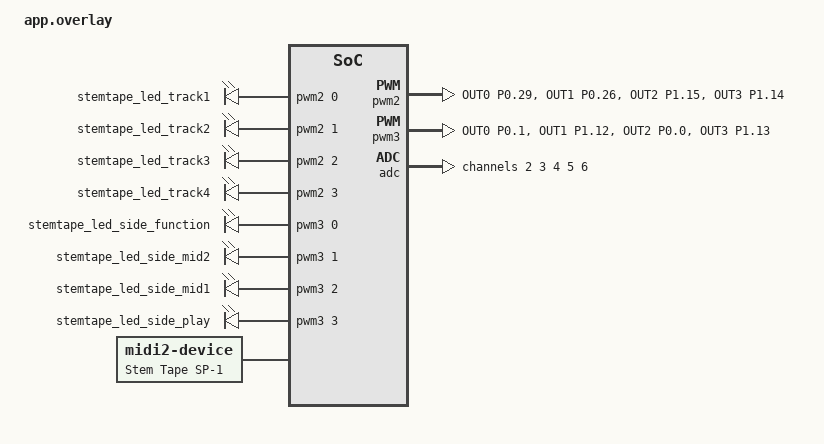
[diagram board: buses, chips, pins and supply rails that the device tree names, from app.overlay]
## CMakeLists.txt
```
cmake_minimum_required(VERSION 3.20.0)
find_package(Zephyr REQUIRED HINTS $ENV{ZEPHYR_BASE})
project(stemtape-m0)

# Shared device_next USB bring-up helper (sample_usbd_init_device), the same
# one the SP-1 looper application uses.
include(${ZEPHYR_BASE}/samples/subsys/usb/common/common.cmake)

target_sources(app PRIVATE
	src/main.c
	src/led_battery.c
	src/led_duty.c
	src/led_frame.c
	src/led_midi.c
	src/led_render.c
	src/led_render_policy.c
)
```

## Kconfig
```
# Stem Tape M0 application Kconfig.
#
# Pulls in the common USB sample options (CONFIG_SAMPLE_USBD_VID/PID/PRODUCT/...)
# consumed by the vendored sample_usbd_init.c device_next bring-up helper, then
# the standard Zephyr Kconfig tree.

source "samples/subsys/usb/common/Kconfig.sample_usbd"

source "Kconfig.zephyr"
```

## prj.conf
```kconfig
# ---- Stem Tape M0: raw USB-MIDI control surface ----
CONFIG_PM_DEVICE=n
CONFIG_LOG=n
CONFIG_ASSERT=n
CONFIG_USE_SEGGER_RTT=n

# ---- FAILSAFES (unchanged from the looper build) ----
CONFIG_HW_STACK_PROTECTION=y
CONFIG_REBOOT=y
CONFIG_WATCHDOG=y
CONFIG_CLOCK_CONTROL=y
CONFIG_CLOCK_CONTROL_NRF_K32SRC_SYNTH=y

# ---- USB: device_next stack, MIDI 2.0 class (class-compliant) + CDC console --
CONFIG_USB_DEVICE_STACK_NEXT=y
CONFIG_USBD_MIDI2_CLASS=y
CONFIG_USBD_CDC_ACM_CLASS=y
CONFIG_CDC_ACM_SERIAL_INITIALIZE_AT_BOOT=n
CONFIG_HWINFO=y
CONFIG_SAMPLE_USBD_VID=0x1915
CONFIG_SAMPLE_USBD_PID=0x5211
CONFIG_SAMPLE_USBD_MANUFACTURER="softmodded"
CONFIG_SAMPLE_USBD_PRODUCT="Stem Tape SP-1"
# iOS/iPadOS reject accessories claiming more than 100 mA over the camera
# adapter; the SP-1 runs from its own battery (units of 2 mA).
CONFIG_SAMPLE_USBD_MAX_POWER=50

# ---- console over USB CDC ACM ----
CONFIG_PRINTK=y
CONFIG_SERIAL=y
CONFIG_CONSOLE=y
CONFIG_UART_CONSOLE=y
CONFIG_UART_LINE_CTRL=y
CONFIG_UART_INTERRUPT_DRIVEN=y

# ---- controls ----
CONFIG_ADC=y

# ---- LED Feedback Protocol v1: hardware PWM2/PWM3 physical LED renderer --
# Replaces the prior TIMER3 software-PWM row driver; no ISR involved, the
# nRF PWM peripheral generates the waveform autonomously.
CONFIG_PWM=y

CONFIG_MAIN_STACK_SIZE=4096
```

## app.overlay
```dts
#include <zephyr/dt-bindings/adc/adc.h>
#include <zephyr/dt-bindings/adc/nrf-saadc.h>
#include <zephyr/dt-bindings/pinctrl/nrf-pinctrl.h>
#include <zephyr/dt-bindings/pwm/pwm.h>

/* M0 has no audio path: disable the board's UAC2 speaker function so the
 * device enumerates as MIDI + CDC only. */
&uac2_speaker {
	status = "disabled";
};

/* ---- LED Feedback Protocol v1: hardware PWM2/PWM3 physical LED rows -----
 * The Tape Looper board file deliberately omits PWM LED nodes ("PWM owning
 * those pins would fight" its raw-GPIO row driver) — see
 * boards/teenageengineering/stem_player/stem_player.dts. M0 is a different
 * app target that never builds the looper's GPIO LED code, so it is safe to
 * enable PWM2/PWM3 here, at the app-overlay level only; the Tape Looper
 * target and its board usage are untouched.
 *
 * Pin map + PWM2 (Track row) / PWM3 (side row) split + 1024 us period is
 * the proven layout from bnjreece/feldd-sp1-firmware's app.overlay
 * (MIT-licensed, hardware-tested on this same board), cross-checked against
 * timknapen/SP-1-dev's stemplayer_pins.h. See led_protocol.h for the full
 * index/GPIO table, citation, and the caveat that the PLAY-end/FUNCTION-end
 * direction of the side row is a best-effort inference pending hardware
 * sweep confirmation — that inference affects ONLY which node label
 * led_render.c's led_pwm[] array assigns to which protocol index; the psel
 * pin numbers and pwms channel numbers below are the fixed, proven
 * electrical wiring and are unaffected by it. */
&pinctrl {
	stemtape_pwm2_default: stemtape_pwm2_default {
		group1 {
			psels = <NRF_PSEL(PWM_OUT0, 0, 29)>,  /* Track 1 P0.29 */
				<NRF_PSEL(PWM_OUT1, 0, 26)>,  /* Track 2 P0.26 */
				<NRF_PSEL(PWM_OUT2, 1, 15)>,  /* Track 3 P1.15 */
				<NRF_PSEL(PWM_OUT3, 1, 14)>;  /* Track 4 P1.14 */
		};
	};
	stemtape_pwm2_sleep: stemtape_pwm2_sleep {
		group1 {
			psels = <NRF_PSEL(PWM_OUT0, 0, 29)>, <NRF_PSEL(PWM_OUT1, 0, 26)>,
				<NRF_PSEL(PWM_OUT2, 1, 15)>, <NRF_PSEL(PWM_OUT3, 1, 14)>;
			low-power-enable;
		};
	};
	stemtape_pwm3_default: stemtape_pwm3_default {
		group1 {
			psels = <NRF_PSEL(PWM_OUT0, 0, 1)>,   /* side, P0.01 (nearest FUNCTION; see led_protocol.h) */
				<NRF_PSEL(PWM_OUT1, 1, 12)>,  /* side, P1.12 (FUNCTION-side middle) */
				<NRF_PSEL(PWM_OUT2, 0, 0)>,   /* side, P0.00 (PLAY-side middle) */
				<NRF_PSEL(PWM_OUT3, 1, 13)>;  /* side, P1.13 (nearest PLAY; see led_protocol.h) */
		};
	};
	stemtape_pwm3_sleep: stemtape_pwm3_sleep {
		group1 {
			psels = <NRF_PSEL(PWM_OUT0, 0, 1)>, <NRF_PSEL(PWM_OUT1, 1, 12)>,
				<NRF_PSEL(PWM_OUT2, 0, 0)>, <NRF_PSEL(PWM_OUT3, 1, 13)>;
			low-power-enable;
		};
	};
};

&pwm2 {
	status = "okay";
	pinctrl-0 = <&stemtape_pwm2_default>;
	pinctrl-1 = <&stemtape_pwm2_sleep>;
	pinctrl-names = "default", "sleep";
};
&pwm3 {
	status = "okay";
	pinctrl-0 = <&stemtape_pwm3_default>;
	pinctrl-1 = <&stemtape_pwm3_sleep>;
	pinctrl-names = "default", "sleep";
};

/ {
	/* pwm-leds container (gold-BSP / feldd pattern): gives each child's
	 * `pwms` property the binding PWM_DT_SPEC_GET() needs. led_render.c
	 * drives the channels directly via pwm_set_pulse_dt(), so
	 * CONFIG_LED_PWM is intentionally NOT enabled — this node exists only
	 * to make the eight devicetree handles resolvable. Node labels name
	 * the GPIO/electrical position (fixed, proven); led_render.c's
	 * led_pwm[] array maps each to a protocol index (see led_protocol.h). */
	stemtape_leds: stemtape-leds {
		compatible = "pwm-leds";
		stemtape_led_track1: stemtape_led_track1 {
			pwms = <&pwm2 0 PWM_USEC(1024) PWM_POLARITY_NORMAL>; /* P0.29 */
		};
		stemtape_led_track2: stemtape_led_track2 {
			pwms = <&pwm2 1 PWM_USEC(1024) PWM_POLARITY_NORMAL>; /* P0.26 */
		};
		stemtape_led_track3: stemtape_led_track3 {
			pwms = <&pwm2 2 PWM_USEC(1024) PWM_POLARITY_NORMAL>; /* P1.15 */
		};
		stemtape_led_track4: stemtape_led_track4 {
			pwms = <&pwm2 3 PWM_USEC(1024) PWM_POLARITY_NORMAL>; /* P1.14 */
		};
		stemtape_led_side_function: stemtape_led_side_function {
			pwms = <&pwm3 0 PWM_USEC(1024) PWM_POLARITY_NORMAL>; /* P0.01 */
		};
		stemtape_led_side_mid2: stemtape_led_side_mid2 {
			pwms = <&pwm3 1 PWM_USEC(1024) PWM_POLARITY_NORMAL>; /* P1.12 */
		};
		stemtape_led_side_mid1: stemtape_led_side_mid1 {
			pwms = <&pwm3 2 PWM_USEC(1024) PWM_POLARITY_NORMAL>; /* P0.00 */
		};
		stemtape_led_side_play: stemtape_led_side_play {
			pwms = <&pwm3 3 PWM_USEC(1024) PWM_POLARITY_NORMAL>; /* P1.13 */
		};
	};
};

/ {
	usb_midi: usb_midi {
		compatible = "zephyr,midi2-device";
		status = "okay";
		#address-cells = <1>;
		#size-cells = <1>;
		label = "Stem Tape SP-1";

		midi_in_out@0 {
			reg = <0 1>;
			protocol = "midi1-up-to-128b";
			label = "Stem Tape Surface";
		};
	};
};

&adc {
	channel@2 { reg = <2>; zephyr,gain = "ADC_GAIN_1_6"; zephyr,reference = "ADC_REF_INTERNAL";
		zephyr,acquisition-time = <ADC_ACQ_TIME(ADC_ACQ_TIME_MICROSECONDS, 20)>;
		zephyr,input-positive = <NRF_SAADC_AIN3>; zephyr,resolution = <12>; };   /* Fader 1 P0.05 */
	channel@3 { reg = <3>; zephyr,gain = "ADC_GAIN_1_6"; zephyr,reference = "ADC_REF_INTERNAL";
		zephyr,acquisition-time = <ADC_ACQ_TIME(ADC_ACQ_TIME_MICROSECONDS, 20)>;
		zephyr,input-positive = <NRF_SAADC_AIN6>; zephyr,resolution = <12>; };   /* Fader 2 P0.30 */
	channel@4 { reg = <4>; zephyr,gain = "ADC_GAIN_1_6"; zephyr,reference = "ADC_REF_INTERNAL";
		zephyr,acquisition-time = <ADC_ACQ_TIME(ADC_ACQ_TIME_MICROSECONDS, 20)>;
		zephyr,input-positive = <NRF_SAADC_AIN2>; zephyr,resolution = <12>; };   /* Fader 3 P0.04 */
	channel@5 { reg = <5>; zephyr,gain = "ADC_GAIN_1_6"; zephyr,reference = "ADC_REF_INTERNAL";
		zephyr,acquisition-time = <ADC_ACQ_TIME(ADC_ACQ_TIME_MICROSECONDS, 20)>;
		zephyr,input-positive = <NRF_SAADC_AIN7>; zephyr,resolution = <12>; };   /* Fader 4 P0.31 */
	channel@6 { reg = <6>; zephyr,gain = "ADC_GAIN_1_6"; zephyr,reference = "ADC_REF_INTERNAL";
		zephyr,acquisition-time = <ADC_ACQ_TIME(ADC_ACQ_TIME_MICROSECONDS, 20)>;
		zephyr,input-positive = <NRF_SAADC_AIN4>; zephyr,resolution = <12>; };   /* Battery P0.28 */
};

&zephyr_user {
	io-channels = <&adc 0>, <&adc 1>, <&adc 2>, <&adc 3>, <&adc 4>, <&adc 5>, <&adc 6>;
};
```

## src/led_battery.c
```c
/*
 * led_battery.c — see led_battery.h. PURE: no Zephyr, no ADC/GPIO access.
 */

#include "led_battery.h"

#include "led_duty.h"

/* [looper a8dd127:4614]: static const int batt_thr[3] = { 2020, 2140, 2260 }; */
static const int32_t batt_thr[3] = {
	(int32_t)LED_BATTERY_THR_1,
	(int32_t)LED_BATTERY_THR_2,
	(int32_t)LED_BATTERY_THR_3,
};

void led_battery_gauge_reset(led_battery_gauge_t *g)
{
	g->ema = -1;
	g->level = 0u;
	g->ever_valid = false;
	g->last_read_ok = false;
}

void led_battery_gauge_update(led_battery_gauge_t *g, bool valid, int32_t raw_adc)
{
	uint8_t nl;
	int k;

	g->last_read_ok = valid;
	if (!valid) {
		return; /* sticky: EMA/level unchanged on a failed read */
	}
	g->ever_valid = true;

	/* [looper a8dd127:4618-4620]: bavg = (bavg<0) ? braw : bavg + (braw-bavg)/8
	 * Integer DIVISION (truncates toward zero), not a right-shift (which
	 * would truncate toward negative infinity for a negative numerator) —
	 * matched exactly here rather than approximated, since raw_adc - ema
	 * can be negative on a falling reading. */
	g->ema = (g->ema < 0) ? raw_adc
			      : g->ema + (raw_adc - g->ema) / (1 << LED_BATTERY_EMA_SHIFT);

	/* [looper a8dd127:4630-4632]: for k in 0..2, if bavg > batt_thr[k], nl = k+2 */
	nl = 1u;
	for (k = 0; k < 3; k++) {
		if (g->ema > batt_thr[k]) {
			nl = (uint8_t)(k + 2);
		}
	}

	if (g->level == 0u) {
		g->level = nl; /* first valid sample seeds the sticky level directly */
	} else if (nl > g->level &&
		   g->ema > batt_thr[g->level - 1u] + (int32_t)LED_BATTERY_HYSTERESIS_COUNTS) {
		/* [looper a8dd127:4633-4635] */
		g->level = nl;
	} else if (nl < g->level &&
		   g->ema < batt_thr[g->level - 2u] - (int32_t)LED_BATTERY_HYSTERESIS_COUNTS) {
		/* [looper a8dd127:4636-4637] */
		g->level = nl;
	}
}

led_battery_state_t led_battery_classify(const led_battery_gauge_t *g,
					  bool charger_present, bool charging_now)
{
	/* Charger-status FAULT: nCHG asserted while nPGOOD is deasserted is a
	 * combination the BQ24232 should never produce (charging requires
	 * input power present) — flag it distinctly and never as "low". */
	if (charging_now && !charger_present) {
		return LED_BATTERY_FAULT;
	}
	if (!g->ever_valid) {
		return LED_BATTERY_UNAVAILABLE;
	}
	if (!g->last_read_ok) {
		return LED_BATTERY_FAULT;
	}
	if (charger_present) {
		return charging_now ? LED_BATTERY_CHARGING : LED_BATTERY_CHARGE_COMPLETE;
	}
	return (g->level <= LED_BATTERY_LOW_LEVEL) ? LED_BATTERY_LOW : LED_BATTERY_CHARGER_ABSENT;
}

bool led_battery_state_is_low(led_battery_state_t state)
{
	return state == LED_BATTERY_LOW;
}

void led_battery_gauge_frame(const led_battery_gauge_t *g, bool charging_now,
			      bool blink_phase, uint8_t out[LED_PHYSICAL_COUNT])
{
	uint8_t i;

	for (i = 0; i < LED_TRACK_ROW_COUNT; i++) {
		out[i] = 0u;
	}
	for (i = LED_TRACK_ROW_COUNT; i < LED_PHYSICAL_COUNT; i++) {
		uint8_t step = led_channel_table[i].gauge_step; /* 0..3, bottom-to-top */
		bool lit;

		if (g->level == 0u) {
			lit = false; /* never seeded: off, not a fabricated level */
		} else if ((uint8_t)(step + 1u) < g->level) {
			lit = true; /* strictly below the current level: solid */
		} else if ((uint8_t)(step + 1u) == g->level) {
			/* [looper a8dd127:4644]: on = charging() ? bl : 1 */
			lit = charging_now ? blink_phase : true;
		} else {
			lit = false;
		}
		out[i] = lit ? (uint8_t)LED_LEVEL_MAX : 0u;
	}
}
```

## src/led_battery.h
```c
/*
 * led_battery.h — Stem Tape M0 local battery/charging LED gauge.
 *
 * PURE: no Zephyr, no ADC/GPIO access. main.c reads the real BQ24232 charger
 * status pins and the AIN4 battery-divider ADC and passes the results in
 * here; this module never touches hardware directly.
 *
 * This ports the SP-1 Tape Looper's OWN documented standby charging gauge
 * [looper a8dd127: charger_init()/usb_present()/charging() lines 4260-4290,
 * gauge lines 4591-4647] rather than inventing a new one: 1..4 quarter-level
 * LEDs solid below the current level, the current level's LED SOLID when not
 * charging and BLINKING while charging, all four solid once the charge cycle
 * completes. The battery threshold constants below are copied verbatim from
 * that source, which itself labels them "PLACEHOLDERS until calibrated" /
 * "Interim calibration" — M0 inherits that same provisional status
 * unchanged; do not treat them as a final hardware calibration. See
 * docs/stem-tape-led-feedback-v1.md "Battery / charging baseline".
 *
 * SAFETY: an unavailable or failed ADC reading, or a contradictory
 * charger-status reading, must never be classified as an empty/low battery
 * and must never suppress a valid host LED frame — see
 * led_battery_state_is_low() and led_battery_classify().
 */

#ifndef STEMTAPE_LED_BATTERY_H_
#define STEMTAPE_LED_BATTERY_H_

#include <stdbool.h>
#include <stdint.h>

#include "led_protocol.h"

/* ---- provisional calibration constants [looper a8dd127:4602-4606,4614] ---
 * RAW 12-bit AIN4 battery-divider codes (gain 1/6, 0.6 V internal ref).
 * "Interim calibration 2026-07-20: full anchor MEASURED at raw ~2380
 * (resting, plugged-not-charging = ~4.21 V); empty end is a ~3.35 V physics
 * estimate pending a real low reading" — quoted verbatim from the pinned
 * source, which already flags these as provisional. NOT re-derived or
 * guessed for M0; if you need a firmer calibration, re-run the SP-1 bench
 * measurement the looper's comment describes and update both sources
 * together. */
#define LED_BATTERY_THR_1  2020u  /* [looper a8dd127:4614] batt_thr[0]: level 1->2 */
#define LED_BATTERY_THR_2  2140u  /* [looper a8dd127:4614] batt_thr[1]: level 2->3 */
#define LED_BATTERY_THR_3  2260u  /* [looper a8dd127:4614] batt_thr[2]: level 3->4 */
#define LED_BATTERY_HYSTERESIS_COUNTS  18u  /* [looper a8dd127:4634,4636] */
#define LED_BATTERY_EMA_SHIFT          3u   /* [looper a8dd127:4620]: bavg += (raw-bavg)/8 */

/*
 * Every state the local gauge can be in. Exactly six are host-visible safety
 * states plus the always-present UNAVAILABLE start state:
 *   - UNAVAILABLE: no valid ADC sample has EVER been folded in (e.g. still
 *     early after boot). Never "low".
 *   - FAULT: either (a) the most recent ADC read attempt failed after at
 *     least one prior valid sample, or (b) the charger status pins report a
 *     combination the BQ24232 should never produce (nCHG asserted while
 *     nPGOOD is deasserted — charging without power present). Never "low".
 *   - CHARGER_ABSENT: on battery, valid reading, ABOVE the low threshold —
 *     ordinary operation.
 *   - CHARGING: charger present (nPGOOD asserted) and actively charging
 *     (nCHG asserted).
 *   - CHARGE_COMPLETE: charger present, not actively charging (charge cycle
 *     finished, or the charger has otherwise stopped without a fault
 *     indication).
 *   - LOW: on battery, valid reading, AT/BELOW the low threshold — the ONLY
 *     state that may preempt an owned host frame.
 */
typedef enum {
	LED_BATTERY_UNAVAILABLE = 0,
	LED_BATTERY_FAULT,
	LED_BATTERY_CHARGER_ABSENT,
	LED_BATTERY_CHARGING,
	LED_BATTERY_CHARGE_COMPLETE,
	LED_BATTERY_LOW,
} led_battery_state_t;

/* Sticky smoothed reading + gauge level. Owned by main.c (like
 * led_frame_state_t), fed one ADC sample at a time. */
typedef struct {
	int32_t ema;          /* smoothed raw ADC code; -1 == never seeded */
	uint8_t level;         /* sticky gauge level 1..LED_BATTERY_GAUGE_LEVEL_COUNT;
				 * 0 == never seeded (no fabricated reading) */
	bool    ever_valid;    /* has at least one valid ADC sample ever landed? */
	bool    last_read_ok;  /* did the MOST RECENT read attempt succeed? */
} led_battery_gauge_t;

/* Cold-boot / reinit state: no reading has ever landed. */
void led_battery_gauge_reset(led_battery_gauge_t *g);

/*
 * Folds in one raw ADC sample. `valid` is false when the read itself failed
 * (main.c's ladder_read() returned < 0): the EMA and level are left exactly
 * as they were — sticky, exactly mirroring the pinned gauge's
 * `if (braw >= 0) bavg = ...` [looper a8dd127:4618-4620] — so a single
 * missed sample never blanks or resets the display, and `last_read_ok`
 * alone (not the level) reflects the miss for FAULT classification.
 */
void led_battery_gauge_update(led_battery_gauge_t *g, bool valid, int32_t raw_adc);

/*
 * Classifies the overall state from the gauge plus the two charger status
 * GPIOs (already-read booleans; main.c reads nPGOOD/nCHG directly, both
 * LOW = active [looper a8dd127:129-130,4282-4290]). `charger_present` ==
 * nPGOOD asserted; `charging_now` == nCHG asserted (meaningful only when
 * paired with `charger_present`; see the FAULT case above).
 */
led_battery_state_t led_battery_classify(const led_battery_gauge_t *g,
					  bool charger_present, bool charging_now);

/* True ONLY for LED_BATTERY_LOW — the sole state allowed to preempt an owned
 * host frame (led_render_select()'s `low_battery` argument). UNAVAILABLE,
 * FAULT, CHARGER_ABSENT, CHARGING and CHARGE_COMPLETE all return false. */
bool led_battery_state_is_low(led_battery_state_t state);

/*
 * Fills the local gauge frame: Track row (0-3) always 0. Side row (4-7)
 * shows `g->level` (1..LED_BATTERY_GAUGE_LEVEL_COUNT) LEDs solid, ascending
 * from LED_IDX_SIDE_PLAY toward LED_IDX_SIDE_FUNCTION per led_channel_table's
 * gauge_step (led_duty.h) — the SAME order used everywhere else, not a
 * separate assumption. The current (topmost lit) level's LED is solid
 * UNLESS `charging_now`, in which case it follows `blink_phase` instead —
 * "solid quarter-level LEDs, the next level blinking while charging, and all
 * four solid when charging is complete" [looper a8dd127:4639-4647]. When the
 * gauge has never been seeded (g->level == 0), the entire side row is left
 * OFF — never fabricated as a specific charge level.
 */
void led_battery_gauge_frame(const led_battery_gauge_t *g, bool charging_now,
			      bool blink_phase, uint8_t out[LED_PHYSICAL_COUNT]);

#endif /* STEMTAPE_LED_BATTERY_H_ */
```

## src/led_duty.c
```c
/*
 * led_duty.c — see led_duty.h. PURE: no Zephyr, no PWM driver calls.
 */

#include "led_duty.h"

/* Must match led_protocol.h's table and app.overlay's pwm-leds child order,
 * index for index. PLAY-end-to-FUNCTION-end direction for indices 4-7 is a
 * best-effort inference — see led_protocol.h's physical-inventory comment.
 * gauge_step is the bottom-to-top position used by led_battery.h's charging
 * gauge: ascending from LED_IDX_SIDE_PLAY (step 0) toward LED_IDX_SIDE_FUNCTION
 * (step 3) — the SAME order as this table's row position, not a separate
 * assumption. */
const led_channel_t led_channel_table[LED_PHYSICAL_COUNT] = {
	[LED_IDX_TRACK1]        = { LED_IDX_TRACK1,        0u, 29u, 2u, 0u, LED_GAUGE_STEP_NONE, "Track 1" },
	[LED_IDX_TRACK2]        = { LED_IDX_TRACK2,        0u, 26u, 2u, 1u, LED_GAUGE_STEP_NONE, "Track 2" },
	[LED_IDX_TRACK3]        = { LED_IDX_TRACK3,        1u, 15u, 2u, 2u, LED_GAUGE_STEP_NONE, "Track 3" },
	[LED_IDX_TRACK4]        = { LED_IDX_TRACK4,        1u, 14u, 2u, 3u, LED_GAUGE_STEP_NONE, "Track 4" },
	[LED_IDX_SIDE_PLAY]     = { LED_IDX_SIDE_PLAY,     1u, 13u, 3u, 3u, 0u, "Side, nearest PLAY" },
	[LED_IDX_SIDE_MID1]     = { LED_IDX_SIDE_MID1,     0u,  0u, 3u, 2u, 1u, "Side, PLAY-side middle" },
	[LED_IDX_SIDE_MID2]     = { LED_IDX_SIDE_MID2,     1u, 12u, 3u, 1u, 2u, "Side, FUNCTION-side middle" },
	[LED_IDX_SIDE_FUNCTION] = { LED_IDX_SIDE_FUNCTION, 0u,  1u, 3u, 0u, 3u, "Side, nearest FUNCTION" },
};

uint32_t led_row_max_pulse_us(uint8_t index)
{
	if (index >= LED_PHYSICAL_COUNT) {
		return 0u;
	}
	return (index < LED_TRACK_ROW_COUNT) ? LED_TRACK_MAX_PULSE_US
					      : LED_SIDE_MAX_PULSE_US;
}

uint32_t led_level_to_pulse_us(uint8_t index, uint8_t level)
{
	uint32_t row_max = led_row_max_pulse_us(index);

	if (level > LED_LEVEL_MAX) {
		level = LED_LEVEL_MAX; /* clamp before touching hardware */
	}
	if (level == 0u) {
		return 0u; /* truly off, no rounding artifact possible */
	}
	/* Round-to-nearest linear scale; level == LED_LEVEL_MAX collapses to
	 * exactly row_max (LED_LEVEL_MAX * row_max + LED_LEVEL_MAX/2) /
	 * LED_LEVEL_MAX == row_max, since the remainder term is always
	 * < LED_LEVEL_MAX. */
	return ((uint32_t)level * row_max + (LED_LEVEL_MAX / 2u)) / LED_LEVEL_MAX;
}

bool led_duty_diff_frame(uint8_t cached[LED_PHYSICAL_COUNT],
			  const uint8_t new_levels[LED_PHYSICAL_COUNT],
			  bool changed[LED_PHYSICAL_COUNT])
{
	uint8_t i;
	bool any = false;

	for (i = 0; i < LED_PHYSICAL_COUNT; i++) {
		if (new_levels[i] != cached[i]) {
			cached[i] = new_levels[i];
			changed[i] = true;
			any = true;
		} else {
			changed[i] = false;
		}
	}
	return any;
}
```

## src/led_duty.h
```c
/*
 * led_duty.h — Stem Tape LED Feedback Protocol v1: the ONE authoritative
 * physical LED hardware table, level-to-duty math, and unchanged-frame
 * diffing.
 *
 * PURE: no Zephyr, no PWM driver calls. led_channel_table[] below is the
 * single source of truth for logical index -> physical role -> GPIO -> PWM
 * instance/channel -> gauge position. Every other consumer reads FROM this
 * table instead of re-deriving any of those fields on its own:
 *   - led_render.c's devicetree PWM spec array is cross-checked against this
 *     table's pwm_instance/pwm_channel at led_render_init() time (a runtime
 *     assertion, not just a comment) — it cannot silently drift from this
 *     table without the renderer failing to come up ready.
 *   - main.c's led_diag_sweep() prints straight from this table (no
 *     hand-derived "row < 4 ? ..." arithmetic, which is exactly the class of
 *     bug that once made the sweep report the side row's PWM channels
 *     backward).
 *   - the host tests (tests/test_led.c) check this table directly.
 *   - docs/stem-tape-led-feedback-v1.md mirrors it for the web team.
 */

#ifndef STEMTAPE_LED_DUTY_H_
#define STEMTAPE_LED_DUTY_H_

#include <stdbool.h>
#include <stdint.h>

#include "led_protocol.h"

/* No side-row gauge position (Track row channels 0..3). */
#define LED_GAUGE_STEP_NONE 0xFFu

typedef struct {
	uint8_t index;         /* protocol/physical index, == this entry's array position */
	uint8_t port;           /* 0 = P0, 1 = P1 */
	uint8_t pin;
	uint8_t pwm_instance;   /* 2 or 3 (NRF_PWM2 / NRF_PWM3) */
	uint8_t pwm_channel;    /* 0..3, channel within that PWM instance */
	uint8_t gauge_step;     /* 0..3: bottom-to-top position in the 4-step
				  * charging gauge (led_battery.h) for indices
				  * 4-7; LED_GAUGE_STEP_NONE for 0-3 */
	const char *role;       /* human-readable physical role, e.g. "Track 1"
				  * or "Side, nearest PLAY" */
} led_channel_t;

/* Indexed 0..7, exactly the led_protocol.h table — THE authoritative table;
 * see this header's top comment. */
extern const led_channel_t led_channel_table[LED_PHYSICAL_COUNT];

/* Row ceiling for a physical index: LED_TRACK_MAX_PULSE_US for 0..3,
 * LED_SIDE_MAX_PULSE_US for 4..7. An out-of-range index returns 0 (no
 * physical index is out of range in practice; the caller must not use this
 * to bypass validation). */
uint32_t led_row_max_pulse_us(uint8_t index);

/* Level 0..127 mapped linearly to 0..row-max-pulse for `index`'s row.
 * `level` is clamped to LED_LEVEL_MAX before any math ("clamp before
 * touching hardware"). level == 0 always returns exactly 0 ("0 must produce
 * a truly off output"); level == LED_LEVEL_MAX always returns exactly the
 * row's ceiling. */
uint32_t led_level_to_pulse_us(uint8_t index, uint8_t level);

/*
 * Per-channel diff against a cache, used to skip redundant PWM writes: for
 * each index i, changed[i] = (new_levels[i] != cached[i]); cached[i] is then
 * updated to new_levels[i] whenever it changed (cached[i] is left alone when
 * unchanged, which is a no-op since they were already equal). Returns true
 * if at least one channel changed (false = nothing to write at all).
 *
 * PURE: two plain 8-byte buffers in, a changed-mask buffer out. led_render.c
 * uses this to decide which of the 8 pwm_set_pulse_dt() calls to actually
 * issue on a given render; it never sends physical writes for channels that
 * did not change, which is the extent of what "not resending every 5 ms"
 * means here. It is NOT a claim that the channels that DO get written
 * update the physical outputs simultaneously — see led_render.h.
 */
bool led_duty_diff_frame(uint8_t cached[LED_PHYSICAL_COUNT],
			  const uint8_t new_levels[LED_PHYSICAL_COUNT],
			  bool changed[LED_PHYSICAL_COUNT]);

#endif /* STEMTAPE_LED_DUTY_H_ */
```

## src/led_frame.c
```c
/*
 * led_frame.c — see led_frame.h. PURE: no Zephyr, no hardware.
 */

#include "led_frame.h"

#define LED_STAGED_MASK_FULL ((uint16_t)((1u << LED_PHYSICAL_COUNT) - 1u))

int led_seq_compare(uint8_t seq_a, uint8_t seq_b)
{
	uint8_t diff = (uint8_t)((uint32_t)(seq_a - seq_b) & (LED_SEQ_MODULUS - 1u));

	if (diff == 0u) {
		return 0;
	}
	return (diff < (LED_SEQ_MODULUS / 2u)) ? 1 : -1;
}

static void led_frame_clear_session(led_frame_state_t *s)
{
	uint8_t i;

	for (i = 0; i < LED_PHYSICAL_COUNT; i++) {
		s->staged[i] = 0u;
		s->active[i] = 0u;
	}
	s->staged_mask = 0u;
	s->owned = false;
	s->had_commit = false;
	s->last_seq = 0u;
	s->last_activity_ms = 0u;
}

void led_frame_reset(led_frame_state_t *s)
{
	led_frame_clear_session(s);

	s->valid_commits = 0u;
	s->rejected_commits = 0u;
	s->duplicate_commits = 0u;
	s->lease_timeouts = 0u;
	s->explicit_releases = 0u;
	s->disconnect_releases = 0u;
	s->stale_heartbeats = 0u;
	s->render_failure_releases = 0u;
}

void led_frame_stage(led_frame_state_t *s, uint8_t index, uint8_t level)
{
	if (index >= LED_PHYSICAL_COUNT) {
		return;
	}
	if (level > LED_LEVEL_MAX) {
		level = LED_LEVEL_MAX;
	}
	s->staged[index] = level;
	s->staged_mask = (uint16_t)(s->staged_mask | (1u << index));
	/* `active` (and therefore the physical output) is untouched: staging
	 * must never change visible outputs. */
}

bool led_frame_all_staged(const led_frame_state_t *s)
{
	return s->staged_mask == LED_STAGED_MASK_FULL;
}

led_commit_result_t led_frame_commit(led_frame_state_t *s, uint8_t seq, uint32_t now_ms)
{
	uint8_t i;

	if (!s->owned) {
		/* "The first commit after boot, MIDI connection, release, or
		 * timeout is accepted only after all eight indices have been
		 * staged." */
		if (!led_frame_all_staged(s)) {
			s->rejected_commits++;
			return LED_COMMIT_REJECTED_INCOMPLETE;
		}
		for (i = 0; i < LED_PHYSICAL_COUNT; i++) {
			s->active[i] = s->staged[i];
		}
		s->owned = true;
		s->had_commit = true;
		s->last_seq = seq;
		s->last_activity_ms = now_ms;
		s->valid_commits++;
		return LED_COMMIT_ACCEPTED;
	}

	/* Already owned: a later commit may update only a subset (staged[]
	 * already carries every prior value for the untouched indices), but
	 * "commit copies the complete staged frame to the active frame". */
	switch (led_seq_compare(seq, s->last_seq)) {
	case 0:
		/* Duplicate commit: idempotent no-op on `active`, but it is
		 * still host-liveness evidence, so the lease is refreshed. */
		s->duplicate_commits++;
		s->last_activity_ms = now_ms;
		return LED_COMMIT_ACCEPTED_DUPLICATE;
	case 1:
		for (i = 0; i < LED_PHYSICAL_COUNT; i++) {
			s->active[i] = s->staged[i];
		}
		s->last_seq = seq;
		s->last_activity_ms = now_ms;
		s->valid_commits++;
		return LED_COMMIT_ACCEPTED;
	default:
		/* Stale/out-of-order: no state change, no lease refresh — an
		 * old or spoofed sequence must not resuscitate the lease. */
		s->rejected_commits++;
		return LED_COMMIT_REJECTED_STALE;
	}
}

led_heartbeat_result_t led_frame_heartbeat(led_frame_state_t *s, uint8_t seq, uint32_t now_ms)
{
	if (!s->owned) {
		/* "Heartbeat never begins ownership by itself." */
		return LED_HEARTBEAT_IGNORED_NOT_OWNED;
	}
	/* "CC89 must extend ownership only when its value equals the most
	 * recently accepted commit sequence. A mismatched heartbeat must not
	 * extend the lease." */
	if (seq != s->last_seq) {
		s->stale_heartbeats++;
		return LED_HEARTBEAT_REJECTED_SEQ_MISMATCH;
	}
	s->last_activity_ms = now_ms;
	return LED_HEARTBEAT_EXTENDED;
}

bool led_frame_check_lease_timeout(led_frame_state_t *s, uint32_t now_ms)
{
	if (!s->owned) {
		return false;
	}
	/* Wrap-safe elapsed-time check: see led_frame.h's doc comment. */
	if ((uint32_t)(now_ms - s->last_activity_ms) < LED_LEASE_TIMEOUT_MS) {
		return false;
	}
	led_frame_release(s, LED_RELEASE_TIMEOUT, now_ms);
	return true;
}

void led_frame_release(led_frame_state_t *s, led_release_reason_t reason, uint32_t now_ms)
{
	(void)now_ms;
	led_frame_clear_session(s);
	switch (reason) {
	case LED_RELEASE_EXPLICIT:
		s->explicit_releases++;
		break;
	case LED_RELEASE_TIMEOUT:
		s->lease_timeouts++;
		break;
	case LED_RELEASE_DISCONNECT:
		s->disconnect_releases++;
		break;
	case LED_RELEASE_RENDER_FAILURE:
		s->render_failure_releases++;
		break;
	case LED_RELEASE_REINIT:
	default:
		break; /* silent state clear: not a host misbehavior */
	}
}

led_render_source_t led_render_select(bool safety_active, bool low_battery, bool host_owned)
{
	if (safety_active) {
		return LED_RENDER_SOURCE_PATTERN;
	}
	if (low_battery) {
		return LED_RENDER_SOURCE_LOCAL;
	}
	return host_owned ? LED_RENDER_SOURCE_HOST : LED_RENDER_SOURCE_LOCAL;
}

bool led_capability_should_answer(bool renderer_ready)
{
	return renderer_ready;
}
```

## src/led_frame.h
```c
/*
 * led_frame.h — Stem Tape LED Feedback Protocol v1: staged/committed frame
 * state machine and host-ownership lease.
 *
 * PURE: no Zephyr headers, no hardware access, no I/O. Every input (level,
 * sequence, "now") is a plain argument; every output is a return value or a
 * field of led_frame_state_t. This is what makes it host-runnable: the exact
 * same translation unit links into the firmware (called from main.c with
 * k_uptime_get()) and into firmware/stemtape/tests/test_led.c (called with a
 * fake clock), so the test proves the real logic, not a reimplementation of
 * it.
 *
 * The website owns all gesture/loop/scrub/FX/mixer/precedence semantics and
 * sends an already-resolved 8-channel brightness frame; this module only
 * implements the transport-level contract in
 * docs/stem-tape-led-feedback-v1.md: stage, atomic commit, modulo-128
 * sequence freshness, and a 1000 ms lease. It never inspects *why* a level
 * is what it is.
 *
 * "Atomic" above means firmware STATE only: led_frame_commit() copies
 * staged[] to active[] as one uninterrupted C loop under the caller's
 * critical section, so a reader never observes a half-applied commit. It is
 * NOT a claim that the eight physical PWM outputs update simultaneously —
 * see led_render.h for that distinction.
 */

#ifndef STEMTAPE_LED_FRAME_H_
#define STEMTAPE_LED_FRAME_H_

#include <stdbool.h>
#include <stdint.h>

#include "led_protocol.h"

typedef enum {
	LED_COMMIT_ACCEPTED,            /* staged frame copied to active, lease (re)armed */
	LED_COMMIT_ACCEPTED_DUPLICATE,  /* seq == last committed seq: idempotent no-op */
	LED_COMMIT_REJECTED_INCOMPLETE, /* first commit since reset, but not all 8 staged */
	LED_COMMIT_REJECTED_STALE,      /* seq is not newer than the last committed seq */
} led_commit_result_t;

typedef enum {
	LED_HEARTBEAT_EXTENDED,             /* ownership active, seq matched: lease pushed out */
	LED_HEARTBEAT_IGNORED_NOT_OWNED,    /* no active ownership: heartbeat is a no-op */
	LED_HEARTBEAT_REJECTED_SEQ_MISMATCH,/* owned, but seq != last committed: lease NOT extended */
} led_heartbeat_result_t;

/* Why led_frame_release() was called; each maps to one diagnostic counter,
 * except REINIT (boot / fresh MIDI connect), which is a silent state clear —
 * it is not a host misbehavior, so it does not increment any of the named
 * counters. */
typedef enum {
	LED_RELEASE_EXPLICIT,       /* host sent CC90 */
	LED_RELEASE_TIMEOUT,        /* no commit/heartbeat within LED_LEASE_TIMEOUT_MS */
	LED_RELEASE_DISCONNECT,     /* USB MIDI disconnect / interface-not-ready / suspend */
	LED_RELEASE_REINIT,         /* boot, or a fresh MIDI (re)connection */
	LED_RELEASE_RENDER_FAILURE, /* physical renderer reported a write failure */
} led_release_reason_t;

typedef struct {
	/* Staging: the host's full 8-value mental model. A stage() call only
	 * ever touches these fields, never `active` — "staging must not
	 * change visible outputs". */
	uint8_t  staged[LED_PHYSICAL_COUNT];
	uint16_t staged_mask; /* bit i set once index i has been staged since the last reset/release */

	/* Committed/active: exactly what the renderer shows while owned. */
	uint8_t  active[LED_PHYSICAL_COUNT];
	bool     owned;       /* true once a valid complete-or-later commit has landed */
	bool     had_commit;  /* at least one commit ever accepted since the last reset/release */
	uint8_t  last_seq;    /* valid iff had_commit */
	uint32_t last_activity_ms; /* valid iff owned; last commit or matching heartbeat */

	/* Diagnostics (cumulative; only led_frame_reset() zeroes them —
	 * "preserve only cumulative diagnostic counters" across a release). */
	uint32_t valid_commits;
	uint32_t rejected_commits;
	uint32_t duplicate_commits;
	uint32_t lease_timeouts;
	uint32_t explicit_releases;
	uint32_t disconnect_releases;
	uint32_t stale_heartbeats;
	uint32_t render_failure_releases;
} led_frame_state_t;

/* Full cold-boot reset: clears staging, active frame, ownership AND every
 * diagnostic counter. Call exactly once, at firmware boot. */
void led_frame_reset(led_frame_state_t *s);

/* Stage one physical index (0..7) with a level (clamped to 0..127). Never
 * touches `active`. Invalid index is ignored. */
void led_frame_stage(led_frame_state_t *s, uint8_t index, uint8_t level);

/* True once every one of the 8 indices has been staged since the last
 * reset/release. */
bool led_frame_all_staged(const led_frame_state_t *s);

/* Attempt to commit the current staged[] to active[] under sequence `seq`.
 * `now_ms` records the activity time that arms/refreshes the lease on
 * acceptance (see led_frame_check_lease_timeout()). */
led_commit_result_t led_frame_commit(led_frame_state_t *s, uint8_t seq, uint32_t now_ms);

/* Refresh the lease if, and only if, ownership is already active AND `seq`
 * equals the most recently accepted commit sequence — "CC89 must extend
 * ownership only when its value equals the most recently accepted commit
 * sequence. A mismatched heartbeat must not extend the lease." Never
 * creates ownership by itself. */
led_heartbeat_result_t led_frame_heartbeat(led_frame_state_t *s, uint8_t seq, uint32_t now_ms);

/*
 * If owned and the lease has expired as of now_ms, release(TIMEOUT) and
 * return true. Otherwise a no-op returning false. Call once per main-loop
 * iteration (or on any read of ownership state) so a stale frame can never
 * outlive the lease.
 *
 * Wrap-safe: expiry is `(uint32_t)(now_ms - last_activity_ms) >=
 * LED_LEASE_TIMEOUT_MS`, unsigned subtraction that is correct across a
 * uint32_t millisecond-counter rollover as long as the real elapsed time
 * never exceeds ~24.8 days (UINT32_MAX/2 ms) between two events — always
 * true for a 1000 ms lease. Do NOT compare `now_ms` against a precomputed
 * absolute deadline; that comparison breaks the moment `now_ms +
 * LED_LEASE_TIMEOUT_MS` itself overflows.
 */
bool led_frame_check_lease_timeout(led_frame_state_t *s, uint32_t now_ms);

/*
 * Clear ownership and EVERY piece of session state — staged[], staged_mask,
 * active[], had_commit, last_seq, last_activity_ms — "a stale frame must
 * never remain illuminated after the website disappears" and a stale
 * *staged* value must never silently complete a future partial frame
 * either. Only the cumulative diagnostic counters survive a release; the
 * one matching `reason` is incremented (REINIT increments none). A fresh
 * complete 8-channel frame is required before ownership can resume, exactly
 * as after boot.
 */
void led_frame_release(led_frame_state_t *s, led_release_reason_t reason, uint32_t now_ms);

/* seq_a "newer than" seq_b under modulo-128 wraparound, using the standard
 * half-window (64) rule: forward distance in [1, 63] is newer, [64, 127] is
 * treated as older/stale, 0 is equal (duplicate). Exposed for the host
 * tests; led_frame_commit() uses this internally. */
int led_seq_compare(uint8_t seq_a, uint8_t seq_b);

/*
 * Render-source precedence (docs/stem-tape-led-feedback-v1.md "Safety
 * precedence"): which of three sources should this tick render?
 *   PATTERN — DFU escape, fatal/reset, shutdown, power-off countdown, boot
 *             signature: always wins when `safety_active`.
 *   LOCAL   — the firmware's own battery/Play baseline (led_battery.h):
 *             wins whenever `low_battery` (outranks any host frame — "low-
 *             battery behavior continues to outrank host animation"), and
 *             is also the fallback whenever no host frame is owned ("return
 *             immediately to the local battery display — not all LEDs
 *             off").
 *   HOST    — the leased host frame: wins only when neither of the above
 *             applies and `host_owned`.
 * A pure decision only — main.c calls this exact function every main-loop
 * iteration and is responsible for actually rendering the chosen source, so
 * what is tested here is what runs. `safety_active` covers every safety
 * state that can be concurrent with the main loop (in practice only the
 * power-off countdown; every other safety state is a blocking call that
 * cannot coexist with a render decision in the first place).
 */
typedef enum {
	LED_RENDER_SOURCE_PATTERN, /* local safety/boot pattern wins */
	LED_RENDER_SOURCE_LOCAL,   /* local battery/Play baseline wins */
	LED_RENDER_SOURCE_HOST,    /* leased host frame wins */
} led_render_source_t;

led_render_source_t led_render_select(bool safety_active, bool low_battery, bool host_owned);

/* Pure decision: should a CC91 capability query be answered right now?
 * "Do not answer the CC91 capability query as supported unless all eight
 * outputs initialized successfully." main.c calls this with
 * led_render_is_ready() and only sends the response when it returns true;
 * an unready renderer means the query is silently dropped (no response),
 * never answered as version 1. */
bool led_capability_should_answer(bool renderer_ready);

#endif /* STEMTAPE_LED_FRAME_H_ */
```

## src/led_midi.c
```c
/*
 * led_midi.c — see led_midi.h. PURE: no Zephyr, no UMP, no surface decode.
 */

#include "led_midi.h"

led_midi_decoded_t led_midi_decode(uint8_t channel, uint8_t cc, uint8_t value)
{
	led_midi_decoded_t out = { LED_MIDI_ACTION_NONE, 0u, 0u };

	if (channel != LED_MIDI_CHANNEL) {
		return out; /* channel-1 (and every other channel) never enters the LED protocol */
	}

	if (cc >= LED_CC_STAGE_FIRST && cc <= LED_CC_STAGE_LAST) {
		out.action = LED_MIDI_ACTION_STAGE;
		out.index = (uint8_t)(cc - LED_CC_STAGE_FIRST);
		out.value = value;
		return out;
	}

	switch (cc) {
	case LED_CC_COMMIT:
		out.action = LED_MIDI_ACTION_COMMIT;
		out.value = value;
		break;
	case LED_CC_HEARTBEAT:
		out.action = LED_MIDI_ACTION_HEARTBEAT;
		out.value = value;
		break;
	case LED_CC_RELEASE:
		out.action = LED_MIDI_ACTION_RELEASE;
		break;
	case LED_CC_CAPABILITY:
		/* "Capability query when value is 0." Any other value on this
		 * CC is unrelated traffic on a reserved number and is
		 * ignored, not treated as a query. */
		if (value == 0u) {
			out.action = LED_MIDI_ACTION_CAPABILITY_QUERY;
		}
		break;
	default:
		break; /* unrelated CC on channel 16: ignored */
	}
	return out;
}
```

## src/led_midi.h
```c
/*
 * led_midi.h — Stem Tape LED Feedback Protocol v1: MIDI channel-16 CC
 * dispatch.
 *
 * PURE: no Zephyr, no UMP struct, no USB. main.c extracts the plain
 * (channel, cc, value) bytes from an incoming struct midi_ump using Zephyr's
 * own UMP_MIDI_CHANNEL()/UMP_MIDI1_P1()/UMP_MIDI1_P2() macros and passes them
 * in here; this module never sees a struct midi_ump. That split is what
 * makes channel routing itself host-testable: this file has zero references
 * to midi_note()/midi_cc()/decode_bands() or any other surface-decode
 * function, so it is structurally incapable of driving surface control
 * events, and channel-1 traffic can never reach the LED protocol by
 * construction, not by a runtime check alone.
 */

#ifndef STEMTAPE_LED_MIDI_H_
#define STEMTAPE_LED_MIDI_H_

#include <stdint.h>

#include "led_protocol.h"

typedef enum {
	LED_MIDI_ACTION_NONE = 0,  /* not LED protocol traffic: ignore */
	LED_MIDI_ACTION_STAGE,
	LED_MIDI_ACTION_COMMIT,
	LED_MIDI_ACTION_HEARTBEAT,
	LED_MIDI_ACTION_RELEASE,
	LED_MIDI_ACTION_CAPABILITY_QUERY,
} led_midi_action_t;

typedef struct {
	led_midi_action_t action;
	uint8_t index; /* LED_MIDI_ACTION_STAGE only: physical index 0..7 */
	uint8_t value; /* STAGE: level 0..127. COMMIT/HEARTBEAT: sequence 0..127 */
} led_midi_decoded_t;

/*
 * Classify one Control Change event. `channel` and `cc` are the raw 0-indexed
 * wire values (channel 0 = MIDI channel 1, cc 0..127); `value` is the 7-bit
 * CC data byte, already clamped by the transport (Zephyr's UMP1_P2 masks to
 * 0x7F).
 *
 * Anything not on LED_MIDI_CHANNEL, or on it but not one of CC 80..91, or
 * CC91 with a nonzero value, decodes to LED_MIDI_ACTION_NONE: "invalid
 * channels and unrelated CCs are ignored". The caller must not act on a NONE
 * result beyond dropping the packet — in particular it must never fall
 * through into the normal SP-1 control decoder.
 */
led_midi_decoded_t led_midi_decode(uint8_t channel, uint8_t cc, uint8_t value);

#endif /* STEMTAPE_LED_MIDI_H_ */
```

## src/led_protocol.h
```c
/*
 * Stem Tape LED Feedback Protocol v1 — shared constants.
 *
 * Single source of truth for:
 *   (a) the verified 8-channel physical LED index map, and
 *   (b) the MIDI channel-16 wire protocol the website uses to drive it.
 *
 * Every other LED source file (led_frame.c, led_midi.c, led_render.c,
 * led_battery.c, main.c) and the host tests include ONLY this header for
 * these values — no magic numbers are re-declared elsewhere.
 * docs/stem-tape-led-feedback-v1.md mirrors this table for the web team;
 * keep both in sync if either changes.
 *
 * ---------------------------------------------------------------------
 * PHYSICAL INVENTORY: exactly eight MCU-controllable LEDs.
 * ---------------------------------------------------------------------
 * Four Track LEDs (indices 0-3) and four side battery/Play LEDs
 * (indices 4-7). The Function-button dots and the red triangle are STATIC
 * ENCLOSURE MARKINGS, not LEDs — there is no ninth or tenth channel, and
 * FUNCTION (P0.27) is a plain input GPIO with no emitter of its own.
 *
 * The GPIO *set* for the side row is confirmed by three independent
 * sources (see docs/stem-tape-led-feedback-v1.md "Evidence"):
 *   - timknapen/SP-1-dev stemplayer_pins.h (community pinout reference)
 *   - bnjreece/feldd-sp1-firmware app.overlay + src/led.c (hardware-tested
 *     PWM2/PWM3 implementation on this same board)
 *   - this M0 firmware's own pinned Tape Looper provenance (existing
 *     track_leds[]/leds[] GPIO arrays in main.c, commit a8dd127)
 *
 * The two community sources number that same 4-GPIO set CONTRADICTORILY:
 * Tim Knapen's LED_1..4 order is {P1.13, P0.00, P1.12, P0.01}; feldd's
 * PLAY1..4 order is {P0.01, P1.12, P0.00, P1.13} — the exact reverse. A
 * symbol named "PLAY1" or "LED1" in either source carries NO information
 * about which end of the row sits physically nearest the PLAY button.
 * Neither source documents left-to-right enclosure position, so this
 * table's PLAY-end-to-FUNCTION-end direction is a BEST-EFFORT INFERENCE
 * (this firmware's own pinned Tape Looper leds[] array order, the only
 * fixed reference point this repository actually owns), NOT a
 * hardware-confirmed fact. Confirm or correct it with the eight-step
 * diagnostic sweep (main.c's led_diag_sweep(), triggered by typing 's' into
 * the CDC console) before treating this ordering as ground truth.
 *
 *   idx | logical LED           | GPIO   | PWM instance | PWM channel
 *   ----+------------------------+--------+--------------+------------
 *    0  | Track 1                | P0.29  | PWM2         | 0
 *    1  | Track 2                | P0.26  | PWM2         | 1
 *    2  | Track 3                | P1.15  | PWM2         | 2
 *    3  | Track 4                | P1.14  | PWM2         | 3
 *    4  | Side, nearest PLAY     | P1.13  | PWM3         | 3
 *    5  | Side, PLAY-side middle | P0.00  | PWM3         | 2
 *    6  | Side, FUNCTION-side mid| P1.12  | PWM3         | 1
 *    7  | Side, nearest FUNCTION | P0.01  | PWM3         | 0
 *
 * The two Function-dot visuals and the website's "play-indicator" are
 * host-side illustration only — never physical LED channels. Do not add
 * them here.
 *
 * P0.22 (BQ24232 nCHG) and P0.24 (BQ24232 nPGOOD) are charger STATUS inputs,
 * read (never driven) inside main.c's charger_init(); P0.21 (nCE) is the one
 * charger-control OUTPUT and is driven only there. None of the three is, or
 * has ever been, an available LED output — see led_battery.h for how the two
 * status inputs feed the local charging gauge.
 */

#ifndef STEMTAPE_LED_PROTOCOL_H_
#define STEMTAPE_LED_PROTOCOL_H_

#include <stdint.h>

/* ------------------------------------------------------- physical layer -- */

#define LED_PHYSICAL_COUNT   8u

/* Physical indices, in the table order above. */
#define LED_IDX_TRACK1        0u
#define LED_IDX_TRACK2        1u
#define LED_IDX_TRACK3        2u
#define LED_IDX_TRACK4        3u
#define LED_IDX_SIDE_PLAY     4u  /* side LED nearest PLAY (best-effort; confirm via sweep) */
#define LED_IDX_SIDE_MID1     5u  /* side LED, PLAY-side middle position */
#define LED_IDX_SIDE_MID2     6u  /* side LED, FUNCTION-side middle position */
#define LED_IDX_SIDE_FUNCTION 7u  /* side LED nearest FUNCTION (best-effort; confirm via sweep) */

/* idx < LED_TRACK_ROW_COUNT is the track row; the rest is the side row. */
#define LED_TRACK_ROW_COUNT  4u
#define LED_SIDE_ROW_COUNT   4u

/* Proven PWM period (feldd app.overlay, hardware-tested on this board). */
#define LED_PWM_PERIOD_US    1024u

/* M0's existing electrical brightness ceilings (unchanged from the prior
 * software-PWM implementation's LED_PWM_ON_US / LED_STATUS_ON_US). Never
 * raise these without a separately cited and reviewed electrical
 * justification. */
#define LED_TRACK_MAX_PULSE_US  52u
#define LED_SIDE_MAX_PULSE_US   66u

/* Incoming/staged brightness levels are 7-bit MIDI values. */
#define LED_LEVEL_MAX        127u

/* ------------------------------------------------- MIDI transport layer -- */

/* MIDI channel 16, zero-indexed as the wire/UMP value (channel 1 = index 0,
 * so channel 16 = index 15). Existing surface controls stay on channel 1
 * (index 0, ST_MIDI_CHANNEL in midi_protocol.h) and are never touched. */
#define LED_MIDI_CHANNEL     15u

/* Control Change numbers reserved for this protocol on channel 16. */
#define LED_CC_STAGE_FIRST   80u  /* 80..87: stage physical index 0..7    */
#define LED_CC_STAGE_LAST    87u
#define LED_CC_COMMIT        88u  /* value = frame sequence 0..127        */
#define LED_CC_HEARTBEAT     89u  /* value = most recently committed seq  */
#define LED_CC_RELEASE       90u  /* release ownership, clear runtime frame */
#define LED_CC_CAPABILITY    91u  /* query when value == 0                */

#define LED_PROTOCOL_VERSION 1u

/* Sequence numbers are modulo-128 (they ride in a 7-bit MIDI CC value). */
#define LED_SEQ_MODULUS      128u

/* Host must heartbeat at least this often; firmware times the lease out
 * after LED_LEASE_TIMEOUT_MS with no commit or heartbeat. */
#define LED_HEARTBEAT_INTERVAL_MS  250u
#define LED_LEASE_TIMEOUT_MS       1000u

/* ------------------------------------------------ battery / Play baseline -
 * Local (unleased) stock behavior: the side row (4-7) is the SP-1's
 * documented 4-step CHARGING GAUGE (led_battery.h), driven from the real
 * BQ24232 charger status pins (nCHG/nPGOOD) and the AIN4 battery-divider ADC
 * reading — NOT an arbitrary function of the compressed 0..127 CC24 value.
 * "Low battery" is the bottom gauge level (1 of 4) while the charger is
 * absent and the reading is valid; it is the ONLY battery-driven condition
 * allowed to preempt an owned host frame (led_render_select()'s
 * `low_battery` argument) — an unavailable, faulted, or charger-related
 * reading must never be classified as low and must never preempt a host
 * frame. See led_battery.h for the full state machine and
 * docs/stem-tape-led-feedback-v1.md "Battery / charging baseline" for the
 * exact composition rule with a leased host frame and the provisional
 * calibration constants' citation. */
#define LED_BATTERY_GAUGE_LEVEL_COUNT  4u  /* quarters, 1..4 */
#define LED_BATTERY_LOW_LEVEL          1u  /* bottom quarter == LED_BATTERY_LOW */

#endif /* STEMTAPE_LED_PROTOCOL_H_ */
```
